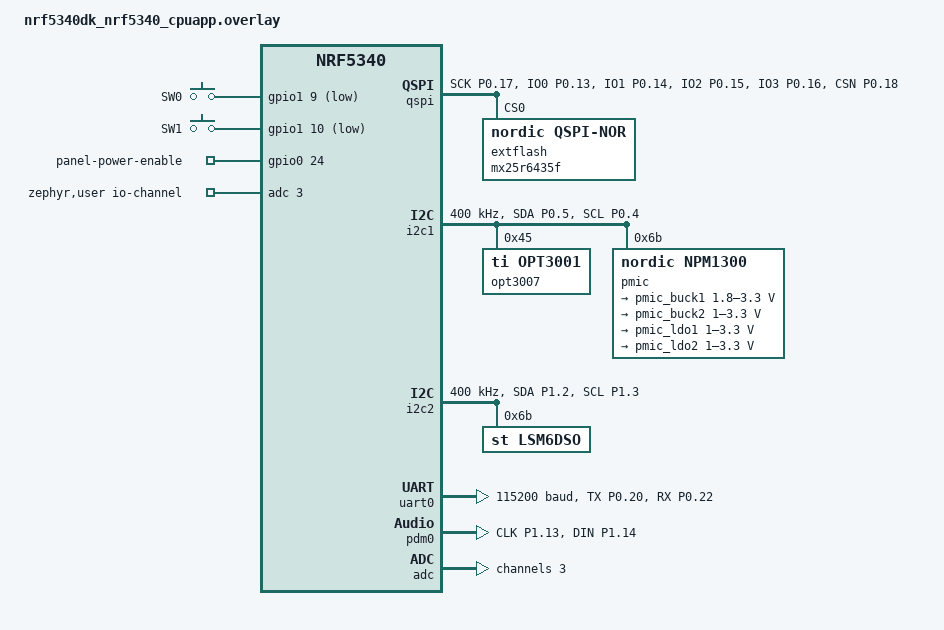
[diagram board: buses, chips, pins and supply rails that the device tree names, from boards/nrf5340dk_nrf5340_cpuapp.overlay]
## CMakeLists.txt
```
# SPDX-License-Identifier: Apache-2.0
#
# Even Realities G1 application core firmware (reconstruction of v1.66).
#
#   west build -b nrf5340dk_nrf5340_cpuapp   MCUboot, this image and the network core
#                                            image (net_core/), packaged in
#                                            build/zephyr/dfu_application.zip

cmake_minimum_required(VERSION 3.20.0)

# Module glue that adds net_core/ as the network core child image
# (cmake/modules/mcuboot/CMakeLists.txt).
list(APPEND MODULE_EXT_ROOT ${CMAKE_CURRENT_SOURCE_DIR}/cmake)

find_package(Zephyr REQUIRED HINTS $ENV{ZEPHYR_BASE})
project(ar_glasses)

target_include_directories(app PRIVATE src/include)

# struct ncs_mem at 0x2007fc00 (shared with bootloader / net core)
zephyr_linker_sources(SECTIONS linker/ncs_mem.ld)

add_subdirectory(src)

# Build identification in the boot log and the "#t" debug command: configure time and
# the git commit of this tree.
string(TIMESTAMP G1_BUILD_TIME "%Y-%m-%d %H:%M:%S")
execute_process(COMMAND git rev-parse --short=8 HEAD
                WORKING_DIRECTORY ${CMAKE_CURRENT_SOURCE_DIR}
                OUTPUT_VARIABLE G1_GIT_COMMIT OUTPUT_STRIP_TRAILING_WHITESPACE ERROR_QUIET)
if(NOT G1_GIT_COMMIT)
  set(G1_GIT_COMMIT unknown)
endif()
set_property(SOURCE src/main.c src/ble/ble_proto.c TARGET_DIRECTORY app APPEND PROPERTY
             COMPILE_DEFINITIONS G1_BUILD_TIME="${G1_BUILD_TIME}" G1_GIT_COMMIT="${G1_GIT_COMMIT}")
```

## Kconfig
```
# SPDX-License-Identifier: Apache-2.0

# The network core image is net_core/ (cmake/modules/mcuboot/CMakeLists.txt).  With
# network core DFU on and no NCS RPMsg sample selected, NCS adds its empty_net_core
# sample to the same domain instead; the option has no prompt there, so it gets one
# here and prj.conf turns it off.
config NCS_SAMPLE_EMPTY_NET_CORE_CHILD_IMAGE
	bool "Add the NCS empty_net_core sample as the network core child image"
	depends on SOC_NRF5340_CPUAPP && BOARD_ENABLE_CPUNET

source "Kconfig.zephyr"
```

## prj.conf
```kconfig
# Baseline configuration - being refined against the shipped v1.63 image.
CONFIG_SIZE_OPTIMIZATIONS=y

# C library / FP
CONFIG_NEWLIB_LIBC=y
CONFIG_NEWLIB_LIBC_NANO=y
CONFIG_NEWLIB_LIBC_FLOAT_PRINTF=y
CONFIG_FPU=y
CONFIG_FP_HARDABI=y
CONFIG_CBPRINTF_FP_SUPPORT=y

# Kernel
CONFIG_ASSERT=y
CONFIG_ASSERT_LEVEL=2
CONFIG_SPIN_VALIDATE=y
CONFIG_THREAD_CUSTOM_DATA=y
CONFIG_MAIN_STACK_SIZE=16384
CONFIG_EVENTS=y
# _system_heap (.data 0x20003978): init_bytes 0x10000, kheap buffer 0x20032868..0x20042868 (r2_kcfg)
CONFIG_HEAP_MEM_POOL_SIZE=65536
CONFIG_RING_BUFFER=y
CONFIG_REBOOT=y
CONFIG_HWINFO=y
CONFIG_POSIX_API=y
CONFIG_PM_DEVICE=y

# Logging / console
CONFIG_LOG=y
CONFIG_PRINTK=y

# Buses and drivers
CONFIG_GPIO=y
CONFIG_I2C=y
CONFIG_SPI=y
CONFIG_ADC=y
CONFIG_SENSOR=y
CONFIG_WATCHDOG=y
CONFIG_NRFX_SPIM3=y
CONFIG_NRFX_SPIM4=y
CONFIG_NRFX_PDM=y
CONFIG_AUDIO=y
CONFIG_AUDIO_DMIC=y
CONFIG_MFD_NPM1300=y
CONFIG_GPIO_NPM1300=y
CONFIG_WDT_NPM1300=y
CONFIG_REGULATOR=y
CONFIG_REGULATOR_NPM1300=y
CONFIG_NPM1300_CHARGER=y
CONFIG_OPT3001=y
CONFIG_NRF_FUEL_GAUGE=y

# Storage
CONFIG_FLASH=y
CONFIG_FLASH_MAP=y
CONFIG_NORDIC_QSPI_NOR=y
CONFIG_NVS=y
CONFIG_SETTINGS=y
CONFIG_SETTINGS_NVS=y

# Bluetooth
CONFIG_BT=y
CONFIG_BT_PERIPHERAL=y
CONFIG_BT_GATT_CLIENT=y
CONFIG_BT_GATT_DM=y
CONFIG_BT_GATT_DYNAMIC_DB=y
CONFIG_BT_SMP=y
CONFIG_BT_BONDABLE=y
CONFIG_BT_SETTINGS=y
CONFIG_BT_ANCS_CLIENT=y
CONFIG_BT_MAX_PAIRED=2
CONFIG_BT_L2CAP_DYNAMIC_CHANNEL=y
CONFIG_BT_CONN_TX_MAX=10
# prep_pool buf_count 2 (.data 0x20003dbc); att.c reassembled_data size MIN(512, 2*498) = 0x200 (r2_kcfg)
CONFIG_BT_ATT_PREPARE_COUNT=2
CONFIG_BT_LONG_WQ=y

# IPC with the network core
CONFIG_IPC_SERVICE=y
CONFIG_MBOX=y

# Crypto
CONFIG_TINYCRYPT=y
CONFIG_TINYCRYPT_AES=y
CONFIG_TINYCRYPT_AES_CMAC=y
CONFIG_TINYCRYPT_SHA256=y
CONFIG_TINYCRYPT_SHA256_HMAC=y
CONFIG_TINYCRYPT_SHA256_HMAC_PRNG=y

# Audio codec
CONFIG_LIBLC3=y

# DFU over BLE (SMP)
CONFIG_BOOTLOADER_MCUBOOT=y
CONFIG_MCUMGR=y
CONFIG_ZCBOR=y
CONFIG_STREAM_FLASH=y
CONFIG_IMG_MANAGER=y
CONFIG_MCUMGR_GRP_IMG=y
CONFIG_MCUMGR_GRP_OS=y
CONFIG_MCUMGR_TRANSPORT_BT=y
CONFIG_MCUMGR_TRANSPORT_BT_REASSEMBLY=y
CONFIG_MCUMGR_TRANSPORT_WORKQUEUE_STACK_SIZE=2048
CONFIG_MCUMGR_TRANSPORT_WORKQUEUE_THREAD_PRIO=3
CONFIG_MCUMGR_TRANSPORT_NETBUF_SIZE=2475
CONFIG_IMG_ERASE_PROGRESSIVELY=y
CONFIG_UPDATEABLE_IMAGE_NUMBER=2
CONFIG_NRF53_UPGRADE_NETWORK_CORE=y
CONFIG_PM_EXTERNAL_FLASH_MCUBOOT_SECONDARY=y
# the network core image is net_core/ (cmake/modules/mcuboot/CMakeLists.txt), no NCS sample
CONFIG_NCS_INCLUDE_RPMSG_CHILD_IMAGE=n
CONFIG_NCS_SAMPLE_EMPTY_NET_CORE_CHILD_IMAGE=n

# ---- Kconfig tuning against the v1.63 image  ----
# OpenAMP: app core is VIRTIO driver (host) only (rpmsg_virtio_*, virtqueue_*)
CONFIG_OPENAMP_SLAVE=n
# zcbor: ZCBOR_CHECK_ERROR()/zcbor_error() calls in every encode/decode fn
CONFIG_ZCBOR_STOP_ON_ERROR=y
# BT: L2CAP SDU RX MTU 0x1f0 (496) => ACL RX 502; ATT MTU 0x1f2 (498)
CONFIG_BT_BUF_ACL_RX_SIZE=502
CONFIG_BT_BUF_ACL_TX_SIZE=502
CONFIG_BT_L2CAP_TX_MTU=498
# BT: le_phy_update_complete / le_data_len_change store + notify
CONFIG_BT_USER_PHY_UPDATE=y
CONFIG_BT_USER_DATA_LEN_UPDATE=y
# UARTE: uarte_nrfx_data has async ptr at +0xc (no int_driven); poll_in/poll_out async paths
CONFIG_UART_ASYNC_API=y
# uart_nrfx_uarte_driver_api is 52 B (two trailing NULL line_ctrl_set/get slots)
CONFIG_UART_LINE_CTRL=y
# k_sys_work_q_init: stack 0x1000
CONFIG_SYSTEM_WORKQUEUE_STACK_SIZE=4096
# smp_bt_setup: two k_work_init_delayable (conn_param_on_pref_restore, le_conn_param_req)
CONFIG_MCUMGR_TRANSPORT_BT_CONN_PARAM_CONTROL=y
# commit_settings/set_setting: "name" setting + bt_set_name("Even G1"), name[28+1]
CONFIG_BT_DEVICE_NAME_DYNAMIC=y
CONFIG_BT_DEVICE_NAME="Even G1"
# bt_buf_get_rx: single hci_rx_pool (no evt/acl_in split)
CONFIG_BT_HCI_ACL_FLOW_CONTROL=n
# update_keys_check: unauthenticated keys may be overwritten
CONFIG_BT_SMP_ALLOW_UNAUTH_OVERWRITE=y
# qspi_nor_write: on-stack bounce buffer 16 bytes
CONFIG_NORDIC_QSPI_NOR_STACK_WRITE_BUFFER_SIZE=16
# boot_swap_type_multi: BOOT_LOG_INF compiled out, "mcuboot_util" module still registered
CONFIG_MCUBOOT_UTIL_LOG_LEVEL_WRN=y
# SDK modules present in the image (bt_gattp_*, bt_nus_send, os_mgmt handlers, sys_poweroff)
CONFIG_BT_GATTP=y
CONFIG_BT_NUS=y
CONFIG_MCUMGR_GRP_OS_MCUMGR_PARAMS=y
CONFIG_MCUMGR_GRP_OS_BOOTLOADER_INFO=y
CONFIG_POWEROFF=y
# bt_ancs_client: notif attr list at +0x1060 => cp_data[4096]
CONFIG_BT_ANCS_CLIENT_CP_BUFF_SIZE=4096
# bt_le_adv_start: limited-adv timeout K_SECONDS(120) = 0x3c0000 ticks
CONFIG_BT_LIM_ADV_TIMEOUT=120
# z_impl_sys_rand32_get from rand32_entropy_device.c on crypto@50844000 (entropy_cc3xx)
CONFIG_ENTROPY_GENERATOR=y
CONFIG_ENTROPY_DEVICE_RANDOM_GENERATOR=y

# cJSON (NCS lib) used by the whitelist/BLE protocol code (parse_string, cJSON_* in the image)
CONFIG_CJSON_LIB=y

# CAF (integration): app_event_manager, module_state_event (main.c reports
# MODULE_STATE_READY, PTR "main" in module_id_list) and the CAF power manager
# (power_manager_app_event_handler, power_down/wake_up events) are in the image.
CONFIG_CAF=y
CONFIG_CAF_POWER_MANAGER=y
# power_down: interval counter compared with 3 (TIMEOUT 3 s / 1 s); system_off only logs
# "System suspended" (STAY_ON); error timeout K_SECONDS(30) = default
CONFIG_CAF_POWER_MANAGER_STAY_ON=y
CONFIG_CAF_POWER_MANAGER_TIMEOUT=3
# zephyr_basic_mgmt_init / storage_erase_handler / zephyr_basic_group_translate_error_code in the image
CONFIG_MCUMGR_GRP_ZBASIC=y
CONFIG_MCUMGR_GRP_ZBASIC_STORAGE_ERASE=y

# ---- Kconfig round 2 (r2_kcfg, evidence from target bytes) ----
# vprintk (0x4e46c) calls z_cbvprintf_impl(char_out, ...) directly; no z_log_vprintk /
# z_impl_z_log_msg_runtime_vcreate in the image
CONFIG_LOG_PRINTK=n
# acl_tx_pool buf_count 10 (.data 0x20003c1c); req_slab num_blocks 10 (= L2CAP_TX_BUF_COUNT default)
CONFIG_BT_BUF_ACL_TX_COUNT=10
# hci_cmd_pool data_size 0x72 = MAX(BT_BUF_EVT_RX_SIZE, BT_BUF_CMD_TX_SIZE) = 1+2+111
# (CONFIG_BT_BUF_CMD_TX_SIZE=110 would give the same bytes: both only size this pool here)
CONFIG_BT_BUF_EVT_RX_SIZE=111
# smp_bt_attrs (.data 0x200028e4): characteristic perms READ|WRITE (0x03 / 0x02), not *_AUTHEN
CONFIG_MCUMGR_TRANSPORT_BT_AUTHEN=n
# log_const_area (0x8b820..0x8ba50, 70 entries) also registers NRF_RPC, NRF_RPC_CBOR, NRF_RPC_OS,
# nrf_rpc_ipc, dk_buttons_and_leds, NRFX_SPIS and NRFX_UARTE (their code is all gc'd).  nrf_rpc +
# DK library are what the ESB/MPSL timeslot demo app enables (referenced_examples/esb_ble_mpsl_timeslot).
CONFIG_NRF_RPC=y
CONFIG_NRF_RPC_CBOR=y
CONFIG_DK_LIBRARY=y
# instance numbers are not visible in the image (only the gc'd nrfx_spis.c / nrfx_uarte.c log entries)
CONFIG_NRFX_SPIS2=y
CONFIG_NRFX_UARTE1=y
# log_const levels: qspi_nor 2, flash_nrf 2 (both CONFIG_FLASH_LOG_LEVEL)
CONFIG_FLASH_LOG_LEVEL_WRN=y
# mpu_regions SRAM_0 = PM sram_primary 0x20002000..0x2007e000 (r_limit 0x2007dfe0), i.e. the
# rpmsg_nrf53_sram PM partition is 8 KB (the IPC shm itself stays at DT sram0_shared 0x20070000)
CONFIG_RPMSG_NRF53_SRAM_SIZE=0x2000
# bt_get_appearance (0x84744) returns 0x341 (833)
CONFIG_BT_DEVICE_APPEARANCE=833
```

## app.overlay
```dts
/*
 * ARMemul demo overlay — matches docs/board-map.md exactly.
 *
 *   i2c1 (TWIM1 @ 0x9000): OPT3001 @0x45, nPM1300 @0x6B
 *   i2c2 (TWIM2 @ 0xb000): LSM6DSO @0x6B (SDA P1.02, SCL P1.03)
 *   spi4 (SPIM4 @ 0xa000, platform "spim_a"): JBD display, SPI mode 3
 *   adc  (SAADC @ 0xe000): AIN3 configured at runtime (single-ended,
 *         gain 1/6, internal ref, 12-bit — see src/main.c)
 *   qspi (@ 0x2b000): Macronix MX25U25645G-family 32 MiB quad NOR
 *         (JEDEC C2 25 39, 24-bit addressing, quad read/program)
 *   buttons: sw0 P1.09, sw1 P1.10, active low
 *   console: UARTE0 (board default)
 *   pdm0: CLK P1.13, DIN P1.14
 */

#include <zephyr/dt-bindings/i2c/i2c.h>
#include <zephyr/dt-bindings/pinctrl/nrf-pinctrl.h>

&pinctrl {
	i2c2_default_alt: i2c2_default_alt {
		group1 {
			psels = <NRF_PSEL(TWIM_SDA, 1, 2)>,
				<NRF_PSEL(TWIM_SCL, 1, 3)>;
		};
	};

	i2c2_sleep_alt: i2c2_sleep_alt {
		group1 {
			psels = <NRF_PSEL(TWIM_SDA, 1, 2)>,
				<NRF_PSEL(TWIM_SCL, 1, 3)>;
			low-power-enable;
		};
	};

	pdm0_default_alt: pdm0_default_alt {
		group1 {
			psels = <NRF_PSEL(PDM_CLK, 1, 13)>,
				<NRF_PSEL(PDM_DIN, 1, 14)>;
		};
	};
};

/* Board map: active-low buttons on P1.09 (sw0) and P1.10 (sw1). */
&button0 {
	gpios = <&gpio1 9 (GPIO_PULL_UP | GPIO_ACTIVE_LOW)>;
};

&button1 {
	gpios = <&gpio1 10 (GPIO_PULL_UP | GPIO_ACTIVE_LOW)>;
};

/* Light + PMIC bus (TWIM1, 400 kHz). */
&i2c1 {
	clock-frequency = <I2C_BITRATE_FAST>;

	opt3001: opt3001@45 {
		compatible = "ti,opt3001";
		reg = <0x45>;
	};

	npm1300: pmic@6b {
		compatible = "nordic,npm1300";
		reg = <0x6b>;

		npm1300_charger: charger {
			compatible = "nordic,npm1300-charger";
			/* board map: 4.4 V term, 4.1 V warm, 40 mA charge,
			 * 1 A discharge, 500 mA VBUS, 100 kOhm/B4250 NTC
			 */
			term-microvolt = <4400000>;
			term-warm-microvolt = <4100000>;
			current-microamp = <40000>;
			dischg-limit-microamp = <1000000>;
			vbus-limit-microamp = <500000>;
			thermistor-ohms = <100000>;
			thermistor-beta = <4250>;
			charging-enable;
		};

		npm1300_regulators: regulators {
			compatible = "nordic,npm1300-regulator";

			npm1300_buck1: BUCK1 {
			};

			npm1300_buck2: BUCK2 {
				regulator-init-microvolt = <3000000>;
				regulator-boot-on;
			};
		};
	};
};

/* IMU bus (TWIM2, 400 kHz, SDA P1.02, SCL P1.03). */
&i2c2 {
	compatible = "nordic,nrf-twim";
	status = "okay";
	pinctrl-0 = <&i2c2_default_alt>;
	pinctrl-1 = <&i2c2_sleep_alt>;
	pinctrl-names = "default", "sleep";
	clock-frequency = <I2C_BITRATE_FAST>;

	lsm6dso: lsm6dso@6b {
		compatible = "st,lsm6dso";
		reg = <0x6b>;
		accel-odr = <1>;	/* 12.5 Hz (board map: off/12.5/26) */
		gyro-odr = <1>;		/* 12.5 Hz */
		accel-range = <0>;	/* +/-2 g, 61 ug/LSB */
		gyro-range = <0>;	/* 250 dps, 8.75 mdps/LSB */
	};
};

/* JBD display on the dedicated SPIM4 box (platform instance "spim_a").
 * SPI mode 3 is requested from the driver code (SPI_MODE_CPOL|SPI_MODE_CPHA).
 */
&spi4 {
	status = "okay";

	jbd0: jbd@0 {
		compatible = "armemul,jbd-display";
		reg = <0>;
		spi-max-frequency = <8000000>;
	};
};

/* Macronix MX25U25645G-family 32 MiB quad NOR (board map: JEDEC C2 25 39,
 * 24-bit addressing preserved, quad read/program, mode 0, 96 MHz).
 * The board's mx25r6435f node is repurposed in place (same nodelabel).
 */
&mx25r64 {
	/delete-property/ sfdp-bfp;
	jedec-id = [c2 25 39];
	size = <268435456>;		/* 256 Mbit = 32 MiB */
	sck-frequency = <96000000>;
	readoc = "read4io";		/* 4READ EB */
	writeoc = "pp4io";		/* 4PP 38 */
	quad-enable-requirements = "S1B6";
	t-enter-dpd = <10000>;
	t-exit-dpd = <35000>;
};

/* PDM microphone (board map: CLK P1.13, DIN P1.14). */
dmic_dev: &pdm0 {
	status = "okay";
	pinctrl-0 = <&pdm0_default_alt>;
	pinctrl-names = "default";
};
```

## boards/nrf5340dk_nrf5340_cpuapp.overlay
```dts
#include <dt-bindings/regulator/npm1300.h>
#include <zephyr/dt-bindings/adc/adc.h>
#include <zephyr/dt-bindings/adc/nrf-adc.h>

/ {
	chosen {
		nordic,pm-ext-flash = &extflash;
	};
};

/*
 * G1 app-core board overlay (draft) — nrf5340dk_nrf5340_cpuapp
 *
 * Reconstructed from app_update.bin device objects + pinctrl state tables.
 * Bus/pin mapping and provenance: recon/board/pins_buses.md
 *
 * nRF5340 SERIAL mapping in this firmware:
 *   UARTE0=uart@8000  TWIM1=i2c@9000  SPIM3/SPIM4=projector(runtime pins)
 *   TWIM2=i2c@b000    PDM0=pdm@26000  QSPI=mx25r6435f
 * No PWM node exists in the firmware (brightness is set over projector SPI).
 */

&pinctrl {
	/* ---- QSPI (external NOR flash) ---- */
	qspi_default: qspi_default {
		group1 {
			psels = <NRF_PSEL(QSPI_SCK, 0, 17)>,
				<NRF_PSEL(QSPI_IO0, 0, 13)>,
				<NRF_PSEL(QSPI_IO1, 0, 14)>,
				<NRF_PSEL(QSPI_IO2, 0, 15)>,
				<NRF_PSEL(QSPI_IO3, 0, 16)>,
				<NRF_PSEL(QSPI_CSN, 0, 18)>;
			nordic,drive-mode = <NRF_DRIVE_H0H1>;
		};
	};
	/* qspi_sleep: the DK default (CSN in its own pull-up group2) - the shipped
	 * __pinctrl_state_pins_1 of the QSPI device has 6 pins ending with CSN | pull-up. */

	/* ---- I2C1 (i2c@9000): OPT3007 ALS + PMIC ---- */
	i2c1_default: i2c1_default {
		group1 {
			psels = <NRF_PSEL(TWIM_SDA, 0, 5)>,
				<NRF_PSEL(TWIM_SCL, 0, 4)>;
		};
	};
	i2c1_sleep: i2c1_sleep {
		group1 {
			psels = <NRF_PSEL(TWIM_SDA, 0, 5)>,
				<NRF_PSEL(TWIM_SCL, 0, 4)>;
			low-power-enable;
		};
	};

	/* ---- I2C3 (i2c@b000): LSM6DSO IMU ---- */
	i2c2_default: i2c2_default {
		group1 {
			psels = <NRF_PSEL(TWIM_SDA, 1, 2)>,
				<NRF_PSEL(TWIM_SCL, 1, 3)>;
		};
	};
	i2c2_sleep: i2c2_sleep {
		group1 {
			psels = <NRF_PSEL(TWIM_SDA, 1, 2)>,
				<NRF_PSEL(TWIM_SCL, 1, 3)>;
			low-power-enable;
		};
	};

	/* ---- UARTE0 (uart@8000): console/debug ---- */
	/* shipped default state has 4 pins: TX P0.20, RTS disconnected, RX P0.22 + CTS
	 * disconnected (pull-up); sleep state 2 pins (TX, RX). */
	uart0_default: uart0_default {
		group1 {
			psels = <NRF_PSEL(UART_TX, 0, 20)>,
				<NRF_PSEL_DISCONNECTED(UART_RTS)>;
		};
		group2 {
			psels = <NRF_PSEL(UART_RX, 0, 22)>,
				<NRF_PSEL_DISCONNECTED(UART_CTS)>;
			bias-pull-up;
		};
	};
	uart0_sleep: uart0_sleep {
		group1 {
			psels = <NRF_PSEL(UART_TX, 0, 20)>,
				<NRF_PSEL(UART_RX, 0, 22)>;
			low-power-enable;
		};
	};

	/* ---- PDM0 (pdm@26000): microphone ---- */
	pdm0_default: pdm0_default {
		group1 {
			psels = <NRF_PSEL(PDM_CLK, 1, 13)>,
				<NRF_PSEL(PDM_DIN, 1, 14)>;
		};
	};

};

/* ================= peripheral nodes ================= */

&qspi {
	status = "okay";
	pinctrl-0 = <&qspi_default>;
	pinctrl-1 = <&qspi_sleep>;
	pinctrl-names = "default", "sleep";

	/*
	 * External serial NOR — the PART IS A MACRONIX MX25U256-family
	 * (256 Mbit / 32 MiB) device, NOT an MX25R6435F.
	 *
	 * The DT node NAME must stay "mx25r6435f@0": that literal string is the
	 * Zephyr device name in the shipped image (app_update.bin device object
	 * 0x87bf0 -> name pointer 0xf5d6b -> "mx25r6435f@0"), and every
	 * device_get_binding()/z_device_is_ready() consumer in the recovered code
	 * references it. Only the DT *label* is corrected here (mx25r64 ->
	 * extflash) so the source no longer claims the wrong part.
	 *
	 * Every property below was checked byte-for-byte against the shipped
	 * `struct qspi_nor_config` at VA 0x8b66c (file offset 0x7f66c); see
	 * recon/emulator/reports/our_boot_bringup.md, Iteration 6 §1.
	 */
	extflash: mx25r6435f@0 {
		compatible = "nordic,qspi-nor";
		reg = <0>;
		writeoc = "pp4io";		/* cfg+0x1d = 03 = NRF_QSPI_WRITEOC_PP4IO  */
		readoc = "read4io";		/* cfg+0x1c = 04 = NRF_QSPI_READOC_READ4IO */
		/*
		 * cfg+0x23 (phy_if.sck_freq) = 0 = NRF_QSPI_FREQ_DIV1 AND the
		 * inlined qspi_nrfx_configure at 0x60c26/0x60c2e writes
		 * HFCLK192MCTRL(0x50005000+0x5b8) = 0 = NRF_CLOCK_HFCLK_DIV_1.
		 * Only the ">= NRF_QSPI_BASE_CLOCK_FREQ (96 MHz)" branch of the
		 * driver's ladder yields that pair (the >=48 MHz branch would
		 * write DIV_2=1; the >=32 MHz branch would give sck_freq=3).
		 */
		sck-frequency = <96000000>;
		jedec-id = [c2 25 39];		/* cfg+0x30 = c2 25 39 (MX25U256)   */
		size = <268435456>;		/* cfg+0x2c = 0x02000000 B = 32 MiB  */
		has-dpd;			/* exit_dpd@0x8397e emits 0xAB       */
	};
};

&i2c1 { /* i2c@9000 */
	compatible = "nordic,nrf-twim";
	status = "okay";
	pinctrl-0 = <&i2c1_default>;
	pinctrl-1 = <&i2c1_sleep>;
	pinctrl-names = "default", "sleep";
	clock-frequency = <I2C_BITRATE_FAST>;

	opt3007: opt3001@45 {
		compatible = "ti,opt3001";
		reg = <0x45>;
	};

	pmic: pmic@6b {
		compatible = "nordic,npm1300";
		reg = <0x6b>;

		pmic_gpio: gpio-controller {
			compatible = "nordic,npm1300-gpio";
			gpio-controller;
			#gpio-cells = <2>;
			/* gpio_npm1300_config0.port_pin_mask = 0x07 in the shipped image */
			ngpios = <3>;
		};

		pmic_regulators: regulators {
			compatible = "nordic,npm1300-regulator";

			/* Values decoded from the four stock config objects at
			 * 0x8b878..0x8b977, not copied from the evaluation shield. */
			pmic_buck1: BUCK1 {
				regulator-min-microvolt = <1800000>;
				regulator-max-microvolt = <3300000>;
			};
			pmic_buck2: BUCK2 {
				regulator-min-microvolt = <1000000>;
				regulator-max-microvolt = <3300000>;
				regulator-init-microvolt = <1200000>;
			};
			pmic_ldo1: LDO1 {
				regulator-min-microvolt = <1000000>;
				regulator-max-microvolt = <3300000>;
				regulator-initial-mode = <NPM1300_LDSW_MODE_LDSW>;
			};
			pmic_ldo2: LDO2 {
				regulator-min-microvolt = <1000000>;
				regulator-max-microvolt = <3300000>;
				regulator-initial-mode = <NPM1300_LDSW_MODE_LDSW>;
			};
		};

		pmic_wdt: watchdog {
			compatible = "nordic,npm1300-wdt";
			/*
			 * Decoded from the shipped `struct wdt_npm1300_config`.
			 * The "watchdog" struct device at 0x87cc8 (name pointer
			 * 0xf66c4 -> "watchdog") has config = 0x8bb50:
			 *   0x8bb50 mfd   = 0x87c80 -> name 0xf6132 "pmic@6b"
			 *   0x8bb54 port  = 0x87c98 -> name 0xf5ebd "gpio-controller"
			 *   0x8bb58 pin   = 2
			 *   0x8bb5a flags = 0x0001 = GPIO_ACTIVE_LOW
			 * Without it `config->reset_gpios.port` is NULL, so
			 * wdt_npm1300_init() skips gpio_pin_configure_dt(...,
			 * NPM1300_GPIO_WDT_RESET_ON) and the six GPIO-bank writes
			 * `060206 061600 060C00 061100 060700 061B00` that the
			 * shipped firmware issues at the head of nPM1300 boot are
			 * absent (measured: our `p1_boot` twim1 @0x6B stream was
			 * 279 transactions against the oracle's 285, and those six
			 * were exactly the missing ones).
			 */
			reset-gpios = <&pmic_gpio 2 GPIO_ACTIVE_LOW>;
		};

		/* Exact config object at 0x8ba14: 4.4/4.1 V termination,
		 * 40 mA charge, 1 A discharge, 500 mA VBUS, 100 kOhm/4250 K
		 * thermistor, default trickle/termination selectors, charging on. */
		pmic_charger: charger {
			compatible = "nordic,npm1300-charger";
			term-microvolt = <4400000>;
			term-warm-microvolt = <4100000>;
			current-microamp = <40000>;
			dischg-limit-microamp = <1000000>;
			vbus-limit-microamp = <500000>;
			thermistor-ohms = <100000>;
			thermistor-beta = <4250>;
			charging-enable;
		};
	};
};

&i2c2 { /* i2c@b000 */
	compatible = "nordic,nrf-twim";
	status = "okay";
	pinctrl-0 = <&i2c2_default>;
	pinctrl-1 = <&i2c2_sleep>;
	pinctrl-names = "default", "sleep";
	clock-frequency = <I2C_BITRATE_FAST>;

	lsm6dso: lsm6dso@6b {
		compatible = "st,lsm6dso";
		reg = <0x6b>;
		/* Exact packed config bytes at original 0x0008b9f0: both sensors
		 * use the driver's low/normal-power mode; ODR/range stay at their
		 * zero-valued power-up defaults. */
		accel-pm = <1>;
		gyro-pm = <1>;
		/* The custom owner emits the original NULL init entry; the stock
		 * CONFIG_LSM6DSO owner remains disabled in Kconfig. */
		status = "okay";
	};
};

&uart0 { /* uart@8000 */
	status = "okay";
	current-speed = <115200>;
	pinctrl-0 = <&uart0_default>;
	pinctrl-1 = <&uart0_sleep>;
	pinctrl-names = "default", "sleep";
	/* hw-flow-control omitted: RTS/CTS not routed */
};

&pdm0 { /* pdm@26000 */
	status = "okay";
	pinctrl-0 = <&pdm0_default>;
	pinctrl-names = "default";
};

/* Projector buses are configured at runtime through nrfx.  The firmware has
 * SPIM3/SPIM4 IRQ veneers but no Zephyr SPI device descriptor. */
&spi4 { status = "disabled"; };
&spi3 { status = "disabled"; };

/* ================= GPIO control lines / buttons ================= */
/ {
	/* the DK push buttons are not on the glasses: with them gone, gpio1 (reached via
	 * gpio_keys) gets a lower devicetree ordinal than gpio0 (reached via leds), so
	 * gpio1 is initialised first, as in the target */
	/delete-node/ buttons;
	aliases {
		/delete-property/ sw0;
		/delete-property/ sw1;
		/delete-property/ sw2;
		/delete-property/ sw3;
		/delete-property/ mcuboot-button0;
	};

	gpio_keys {
		compatible = "gpio-keys";
		sw0: sw0 {
			gpios = <&gpio1 9 (GPIO_ACTIVE_LOW | GPIO_PULL_UP)>;
			label = "SW0";
		};
		sw1: sw1 {
			gpios = <&gpio1 10 (GPIO_ACTIVE_LOW | GPIO_PULL_UP)>;
			label = "SW1";
		};
	};

	panel_ctrl {
		compatible = "gpio-leds";
		panel_pwr: panel_pwr {
			gpios = <&gpio0 24 GPIO_ACTIVE_HIGH>;
			label = "panel-power-enable";
		};
		/* additional projector/panel control outputs observed at boot:
		 * P0.19, P0.21, P0.23, P0.30 (+ P0.25/26/27/28) */
	};
};

/* clk_init writes HFCLKAUDIO.FREQUENCY = 0x9ba5 => 12.288 MHz */
&clock {
	hfclkaudio-frequency = <12288000>;
};

/* pdm_nrfx_init0: k_msgq_init(..., sizeof(void *), 10) */
&pdm0 {
	queue-size = <10>;
	/* dmic_nrfx_pdm_cfg0.clk_src = 0 (PCLK32M) in the shipped image */
	clock-source = "PCLK32M";
};

/* NFC field voltage (nfc_wlc.c adc_channels = ADC_DT_SPEC_GET_BY_IDX(zephyr,user, 0);
 * const data at 0x8c1d4: channel 3, gain 1/6, internal reference, AIN3, 12 bit) */
/ {
	zephyr,user {
		io-channels = <&adc 3>;
	};
};

&adc {
	#address-cells = <1>;
	#size-cells = <0>;
	status = "okay";

	channel@3 {
		reg = <3>;
		zephyr,gain = "ADC_GAIN_1_6";
		zephyr,reference = "ADC_REF_INTERNAL";
		zephyr,acquisition-time = <ADC_ACQ_TIME_DEFAULT>;
		zephyr,input-positive = <NRF_SAADC_AIN3>;
		zephyr,resolution = <12>;
	};
};

/* nordicsemi_nrf53_init (0x4f3e4) hands only P1.01 and P1.00 to the network core
 * (soc_secure_gpio_pin_mcu_select(0x21/0x20)); the DK default also forwards P0.11/P0.10. */
&gpio_fwd {
	uart {
		gpios = <&gpio1 1 0>, <&gpio1 0 0>;
	};
};

/* CONFIG_NRFX_SPIS2 needs an SPIS-compatible node (stays disabled; see prj.conf) */
&spi2 {
	compatible = "nordic,nrf-spis";
	status = "disabled";
};
```

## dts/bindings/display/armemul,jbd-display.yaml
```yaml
# ARMemul JBD 640x200 4-bpp microdisplay controller on SPI (mode 3).
#
# Protocol implemented by models/JBD_Display.cs in the ARMemul repository:
#   0x9F -> ID 0x4010; 0x02 + 3-byte little-endian coordinate word
#   ((x & 0x3FF) | ((y << 10) & 0x7FC00)) + 0xFF marker + packed 4-bpp
#   pixels (high nibble = left pixel) + one trailing dummy byte.

description: ARMemul JBD 640x200 4-bpp microdisplay (SPI mode 3)

compatible: "armemul,jbd-display"

include: spi-device.yaml
```

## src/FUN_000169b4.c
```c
/*
 * Function: FUN_000169b4
 * Entry:    000169b4
 * Prototype: undefined1 __stdcall FUN_000169b4(void)
 */


undefined1 FUN_000169b4(void)

{
  return *(undefined1 *)(GLOBAL_STATE._0_4_ + 1);
}
```

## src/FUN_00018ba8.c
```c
/*
 * Function: FUN_00018ba8
 * Entry:    00018ba8
 * Prototype: undefined __stdcall FUN_00018ba8(void)
 */


void FUN_00018ba8(void)

{
  atomic_and((atomic_t *)&GLOBAL_STATE.sem_8.count,-2);
  atomic_and((atomic_t *)&GLOBAL_STATE.sem_8.count,-3);
  atomic_and((atomic_t *)&GLOBAL_STATE.sem_8.count,-5);
  return;
}
```

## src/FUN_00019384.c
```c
/*
 * Function: FUN_00019384
 * Entry:    00019384
 * Prototype: undefined __stdcall FUN_00019384(void)
 */


void FUN_00019384(void)

{
  FUN_0008307e(&GLOBAL_STATE.sem_8.poll_events);
  return;
}
```

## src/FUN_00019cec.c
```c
/*
 * Function: FUN_00019cec
 * Entry:    00019cec
 * Prototype: undefined4 __stdcall FUN_00019cec(void)
 */


undefined4 FUN_00019cec(void)

{
  return DAT_20007ef4;
}
```

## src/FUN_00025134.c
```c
/*
 * Function: FUN_00025134
 * Entry:    00025134
 * Prototype: undefined4 __stdcall FUN_00025134(int param_1)
 */


undefined4 FUN_00025134(int param_1)

{
  void *pvVar1;
  
  pvVar1 = memset((void *)(param_1 + 0x1128),0xff,0x11c);
  flash_settings_write_and_verify(0x135000,pvVar1,0x11c);
  return 0;
}
```

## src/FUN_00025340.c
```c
/*
 * Function: FUN_00025340
 * Entry:    00025340
 * Prototype: undefined4 * __stdcall FUN_00025340(void)
 */


undefined4 * FUN_00025340(void)

{
  return &DAT_20003006;
}
```

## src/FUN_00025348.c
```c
/*
 * Function: FUN_00025348
 * Entry:    00025348
 * Prototype: undefined4 __stdcall FUN_00025348(char * param_1)
 */


undefined4 FUN_00025348(char *param_1)

{
  snprintf((char *)&DAT_20003026,0x10,"%s",param_1);
  return 0;
}
```

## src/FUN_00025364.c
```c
/*
 * Function: FUN_00025364
 * Entry:    00025364
 * Prototype: undefined4 __stdcall FUN_00025364(char * param_1)
 */


undefined4 FUN_00025364(char *param_1)

{
  snprintf((char *)&DAT_20003006,0x10,"%s",param_1);
  return 0;
}
```

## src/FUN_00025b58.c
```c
/*
 * Function: FUN_00025b58
 * Entry:    00025b58
 * Prototype: undefined __stdcall FUN_00025b58(void * param_1)
 */


void FUN_00025b58(void *param_1)

{
  k_timeout_t delay;
  k_timeout_t delay_00;
  uint in_stack_ffffffdc;
  
  z_impl_k_sem_init((k_sem *)&DAT_200083c4,0,0x14);
  delay.ticks._4_4_ = 0;
  delay.ticks._0_4_ = in_stack_ffffffdc;
  z_impl_k_thread_create
            ((k_thread *)&DAT_20003fd8,(k_thread_stack_t *)&DAT_200226e0,0x800,
             (k_thread_entry_t)0x25539,param_1,(void *)0x0,(void *)0x0,-0xc,0,delay);
  delay_00.ticks._4_4_ = 0;
  delay_00.ticks._0_4_ = in_stack_ffffffdc;
  z_impl_k_thread_create
            ((k_thread *)&DAT_200040b0,(k_thread_stack_t *)&DAT_20022ee0,0x1400,
             (k_thread_entry_t)0x258fd,param_1,(void *)0x0,(void *)0x0,-0xb,0,delay_00);
  return;
}
```

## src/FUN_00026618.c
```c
/*
 * Function: FUN_00026618
 * Entry:    00026618
 * Prototype: int __stdcall FUN_00026618(undefined4 param_1, undefined4 param_2, undefined4 param_3)
 */


int FUN_00026618(undefined4 param_1,undefined4 param_2,undefined4 param_3)

{
  int iVar1;
  int iVar2;
  undefined4 uStack_18;
  undefined4 uStack_14;
  undefined4 uStack_10;
  
  iVar1 = 0;
  uStack_18 = param_1;
  uStack_14 = param_2;
  uStack_10 = param_3;
  for (iVar2 = DAT_20003b24; 0 < iVar2; iVar2 = iVar2 + -1) {
    iVar1 = z_impl_k_msgq_get((k_msgq *)&DAT_20003b00,&uStack_18,(k_timeout_t)0x0);
  }
  return iVar1;
}
```

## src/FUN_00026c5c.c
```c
/*
 * Function: FUN_00026c5c
 * Entry:    00026c5c
 * Prototype: undefined4 __stdcall FUN_00026c5c(char * param_1, undefined4 * param_2, int param_3)
 */


undefined4 FUN_00026c5c(char *param_1,undefined4 *param_2,int param_3)

{
  char *pcVar1;
  
  if (param_1 == (char *)0x0) {
    return 0;
  }
  if (*param_1 != '\a') {
    return 0;
  }
  if (param_2 == (undefined4 *)0x0) {
    return 0;
  }
  if (param_3 != 0) {
    DAT_200083ec = 0;
  }
  param_2[1] = 1;
  switch(DAT_200083ec) {
  case 0:
    pcVar1 = param_1 + 0x10;
    break;
  case 1:
    DAT_20019935 = param_1[0x14] & 1U | param_1[0x11] << 6 | (param_1[0x12] & 0xfU) << 2 |
                   (param_1[0x13] & 1U) << 1;
    *param_2 = &DAT_20019935;
    goto LAB_00026cb2;
  case 2:
    DAT_20019935 = param_1[0x16] & 0x1fU | param_1[0x15] << 5;
    *param_2 = &DAT_20019935;
    goto LAB_00026cb2;
  case 3:
    pcVar1 = param_1 + 0x17;
    break;
  case 4:
    pcVar1 = param_1 + 0x18;
    break;
  case 5:
    pcVar1 = param_1 + 0x19;
    break;
  default:
    *param_2 = 0;
    param_2[1] = 0;
    goto LAB_00026cb2;
  }
  *param_2 = pcVar1;
LAB_00026cb2:
  DAT_200083ec = DAT_200083ec + 1;
  return *param_2;
}
```
